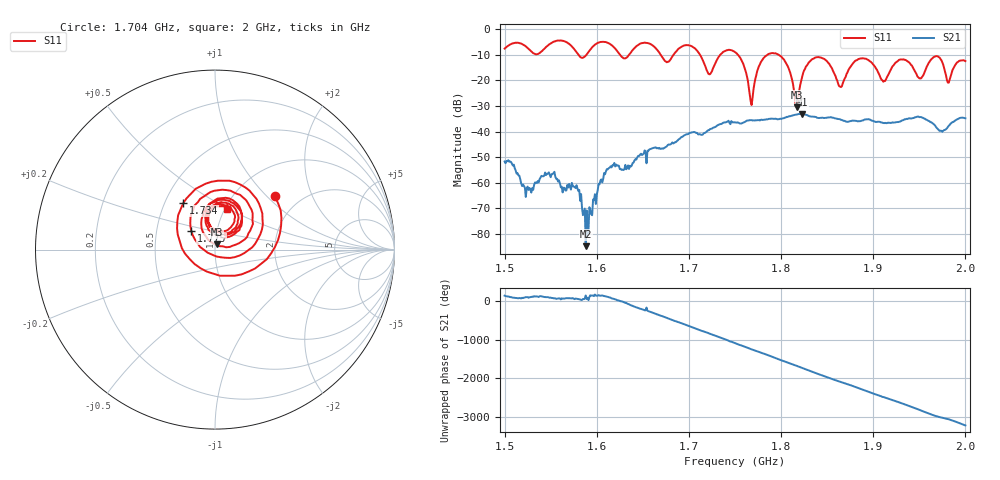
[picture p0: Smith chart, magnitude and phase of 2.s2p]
! NanoVNA-App by SYSJOINT et al v1.1.209 (+OD18)
! Date: 2026-01-21 14:48:10
! Start: 1,5GHz Stop: 2GHz Points: 501
! S-Parameter data: F S11 S21 S12 S22
# Hz S RI R 50
!  Frequency  S11_Real  S11_Imag  S21_Real  S21_Imag  S12_Real  S12_Imag  S22_Real  S22_Imag
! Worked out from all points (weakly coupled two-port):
!   501 points, 1.5 GHz to 2 GHz, reference 50 ohm
!   highest |S21| = -33.11 dB at 1.823 GHz (marker M1); lowest = -84.7 dB at 1.588 GHz (marker M2)
!   lowest |S11| = -30.5 dB at 1.817 GHz (marker M3), VSWR 1.06, Z = 50.8 + j2.9 ohm
!   |S11| at or under -10 dB: 1.712 GHz to 1.734 GHz (22.28 MHz wide, 1.29 % of centre); 1.753 GHz to 1.785 GHz (32.5 MHz wide, 1.84 % of centre); 1.797 GHz to end of sweep (the widest 3 of 6)
!   S12 and S22 are empty: the file has one direction only
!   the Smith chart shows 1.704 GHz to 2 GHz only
!   S11 on the Smith chart (normalised r, x): 1.704 GHz: 1.49, +1.12; 1.734 GHz: 0.62, +0.36; 1.775 GHz: 0.75, +0.16; 2 GHz: 1.02, +0.49
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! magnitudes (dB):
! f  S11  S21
! 1.5 GHz  -7.7  -51.7
! 1.553 GHz  -5.0  -56.2
! 1.584 GHz  -11.3  -69.7
! 1.588 GHz  -10.4  -84.7
! 1.613 GHz  -5.6  -54.3
! 1.667 GHz  -8.8  -46.6
! 1.704 GHz  -7.0  -40.3
! 1.722 GHz  -17.7  -39.4
! 1.734 GHz  -10.0  -37.1
! 1.75 GHz  -9.0  -36.4
! 1.767 GHz  -28.2  -35.6
! 1.775 GHz  -15.4  -35.5
! 1.799 GHz  -10.4  -35.0
! 1.817 GHz  -30.5  -33.4
! 1.823 GHz  -18.5  -33.1
! 1.834 GHz  -11.7  -34.2
! 1.864 GHz  -22.5  -35.2
! 1.886 GHz  -11.5  -35.9
! 1.917 GHz  -17.4  -36.6
! 1.969 GHz  -10.6  -38.6
! 1.982 GHz  -20.9  -37.7
! 2 GHz  -12.5  -34.8
